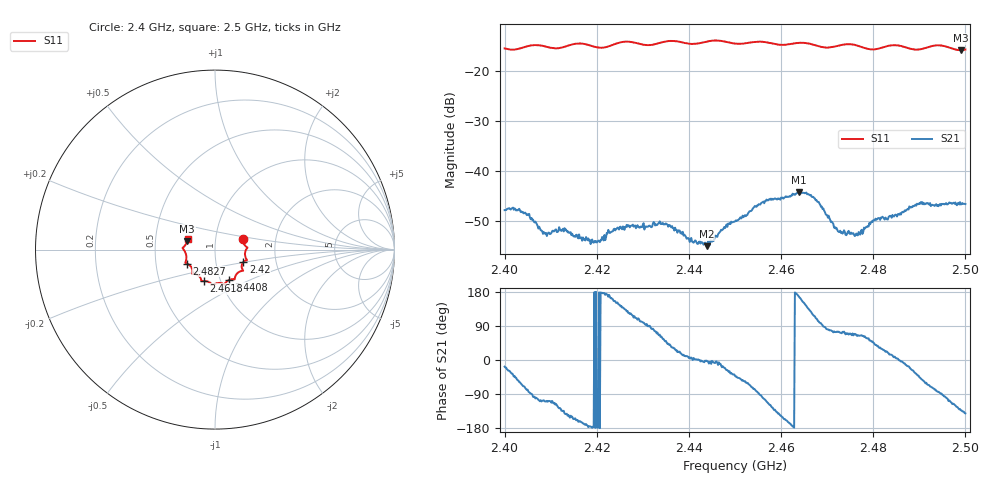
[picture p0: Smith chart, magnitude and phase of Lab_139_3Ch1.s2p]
# Hz S RI R 50
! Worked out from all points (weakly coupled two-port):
!   601 points, 2.4 GHz to 2.5 GHz, reference 50 ohm
!   highest |S21| = -44.23 dB at 2.4638 GHz (marker M1); lowest = -55.0 dB at 2.4438 GHz (marker M2)
!   lowest |S11| = -15.8 dB at 2.499 GHz (marker M3), VSWR 1.39, Z = 36.5 + j3.53 ohm
!   |S11| at or under -10 dB: start of sweep to end of sweep
!   S12 and S22 are empty: the file has one direction only
!   S11 on the Smith chart (normalised r, x): 2.4 GHz: 1.36, +0.17; 2.42 GHz: 1.36, -0.19; 2.4408 GHz: 1.10, -0.38; 2.4618 GHz: 0.84, -0.30; 2.4827 GHz: 0.72, -0.12; 2.5 GHz: 0.73, +0.09
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2.4e9  0.1562 0.0618  0.0039 -0.00123  0 0  0 0
2.404833e9  0.1754 0.0149  0.000697 -0.00358  0 0  0 0
2.408833e9  0.1756 0.00383  -0.000779 -0.00224  0 0  0 0
2.413e9  0.1695 -0.0414  -0.00209 -0.00171  0 0  0 0
2.416667e9  0.1781 -0.0594  -0.0021 -0.000593  0 0  0 0
2.42e9  0.1579 -0.0694  -0.00194 -9.26e-05  0 0  0 0
2.424667e9  0.1542 -0.1119  -0.00228 0.00146  0 0  0 0
2.433333e9  0.1119 -0.1521  0.00115 0.00278  0 0  0 0
2.440833e9  0.0788 -0.1688  0.00197 -3.81e-07  0 0  0 0
2.443833e9  0.0564 -0.1882  0.00179 -5.53e-05  0 0  0 0
2.45e9  0.0277 -0.1858  0.00235 -0.0021  0 0  0 0
2.457e9  -0.0184 -0.1919  -0.00188 -0.00478  0 0  0 0
2.461833e9  -0.0603 -0.1753  -0.00549 -0.00125  0 0  0 0
2.463833e9  -0.0728 -0.1765  -0.00601 0.00129  0 0  0 0
2.466667e9  -0.0771 -0.1684  -0.00308 0.00461  0 0  0 0
2.472833e9  -0.1205 -0.1349  0.000793 0.00242  0 0  0 0
2.476667e9  -0.1255 -0.1269  0.000952 0.00209  0 0  0 0
2.482667e9  -0.1573 -0.0777  0.0032 0.00128  0 0  0 0
2.483333e9  -0.1614 -0.0764  0.00332 0.00107  0 0  0 0
2.490167e9  -0.1633 -0.0205  0.00324 -0.00345  0 0  0 0
2.499e9  -0.1544 0.0471  -0.00316 -0.00343  0 0  0 0
2.5e9  -0.1519 0.0617  -0.00365 -0.00296  0 0  0 0
